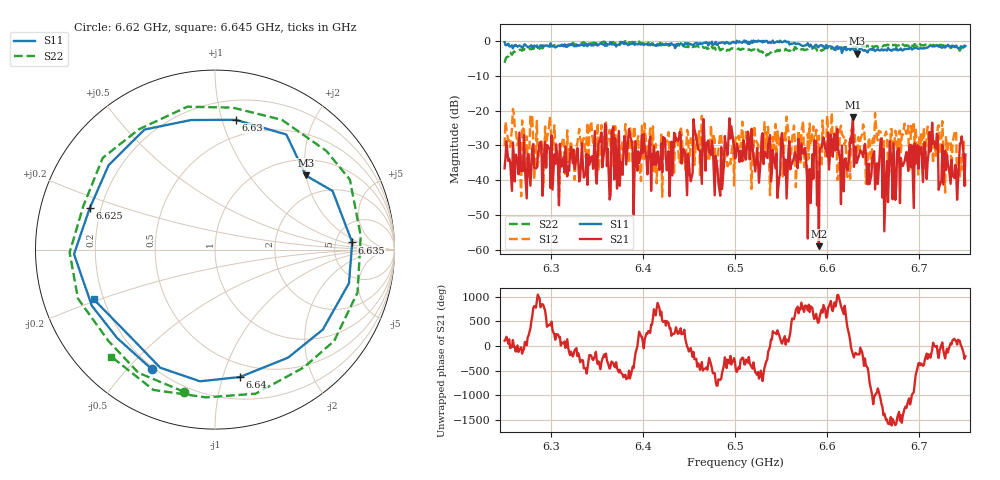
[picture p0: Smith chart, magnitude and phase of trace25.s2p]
# Hz S RI R 50
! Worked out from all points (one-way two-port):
!   401 points, 6.25 GHz to 6.75 GHz, reference 50 ohm
!   highest |S21| = -21.92 dB at 6.628 GHz (marker M1); lowest = -58.9 dB at 6.591 GHz (marker M2)
!   lowest |S11| = -3.7 dB at 6.632 GHz (marker M3), VSWR 4.76, Z = 69.1 + j99.5 ohm
!   |S11| at or under -10 dB: nowhere
!   |S22| runs from -6.3 to -0.1 dB; largest |S21 - S12| = 0.14
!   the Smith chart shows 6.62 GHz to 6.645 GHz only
!   S11 on the Smith chart (normalised r, x): 6.62 GHz: 0.19, -0.59; 6.625 GHz: 0.16, +0.16; 6.63 GHz: 0.36, +1.11; 6.635 GHz: 7.26, +1.40; 6.64 GHz: 0.38, -1.14; 6.645 GHz: 0.16, -0.19
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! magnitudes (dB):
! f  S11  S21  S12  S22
! 6.25 GHz  -0.4  -36.6  -30.2  -6.3
! 6.299 GHz  -1.6  -31.4  -21.8  -1.5
! 6.309 GHz  -1.4  -47.2  -45.3  -1.4
! 6.334 GHz  -1.1  -29.4  -30.3  -0.7
! 6.418 GHz  -1.3  -37.1  -36.3  -0.9
! 6.484 GHz  -0.6  -44.5  -26.5  -2.8
! 6.5 GHz  -0.3  -33.8  -29.5  -2.4
! 6.584 GHz  -1.8  -32.6  -26.3  -2.2
! 6.591 GHz  -1.7  -58.9  -27.3  -2.4
! 6.595 GHz  -1.6  -28.7  -22.8  -2.6
! 6.62 GHz  -2.5  -33.7  -28.5  -1.8
! 6.625 GHz  -2.7  -28.1  -39.6  -1.8
! 6.628 GHz  -2.2  -21.9  -24.8  -1.9
! 6.63 GHz  -2.7  -34.6  -26.7  -1.8
! 6.632 GHz  -3.7  -35.0  -32.8  -1.8
! 6.635 GHz  -2.3  -32.4  -31.3  -1.4
! 6.64 GHz  -2.8  -30.8  -24.8  -1.7
! 6.645 GHz  -2.7  -35.2  -27.7  -1.6
! 6.668 GHz  -2.6  -28.8  -37.6  -1.6
! 6.716 GHz  -1.6  -28.9  -28.4  -1.3
! 6.722 GHz  -1.6  -41.6  -32.6  -1.2
! 6.75 GHz  -1.5  -32.6  -41.6  -2.6
